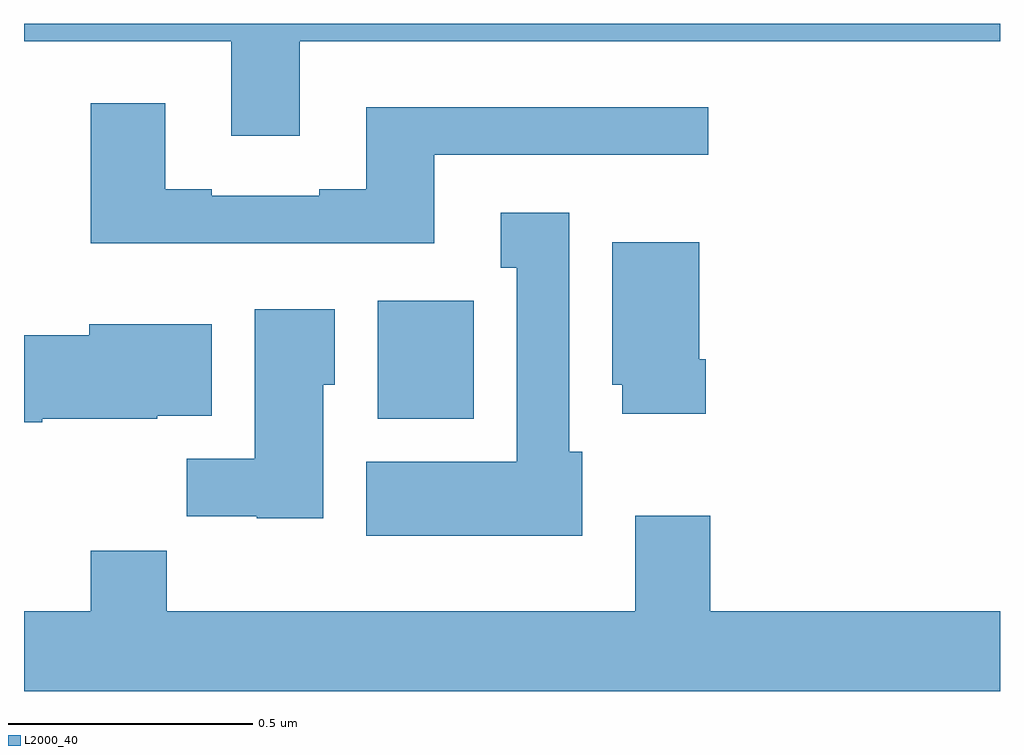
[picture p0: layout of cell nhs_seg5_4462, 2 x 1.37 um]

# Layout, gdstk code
import gdstk
lib = gdstk.Library(unit=1e-6, precision=1e-09)
def R(c, l, rs):  # rectangles x0, y0, x1, y1
    for r in rs: c.add(gdstk.rectangle(r[:2], r[2:], *l))
def P(c, l, *ps):  # polygons
    for p in ps: c.add(gdstk.Polygon(p, *l))
L2000_40 = (2000, 40)

nhs_seg5_4462 = lib.new_cell('nhs_seg5_4462')
R(nhs_seg5_4462, L2000_40, [(171.725,851.99,171.922,852.232)])
P(nhs_seg5_4462, L2000_40, [(171.565,852.764),(173,852.764),(173,852.799),(171,852.799),(171,852.764),(171.425,852.764),(171.425,852.57),(171.565,852.57)],
  [(171.841,852.531),(172.402,852.531),(172.402,852.628),(171.701,852.628),(171.701,852.46),(171.605,852.46),(171.605,852.447),(171.385,852.447),(171.385,852.46),(171.289,852.46),(171.289,852.637),(171.137,852.637),(171.137,852.35),(171.841,852.35)],
  [(172.144,851.922),(172.117,851.922),(172.117,852.412),(171.977,852.412),(171.977,852.299),(172.01,852.299),(172.01,851.902),(171.701,851.902),(171.701,851.75),(172.144,851.75)],
  [(172.397,852.112),(172.384,852.112),(172.384,852.352),(172.205,852.352),(172.205,852.06),(172.226,852.06),(172.226,852),(172.397,852)],
  [(171.613,852.06),(171.637,852.06),(171.637,852.214),(171.473,852.214),(171.473,851.908),(171.334,851.908),(171.334,851.79),(171.477,851.79),(171.477,851.786),(171.613,851.786)],
  [(171.037,851.99),(171.273,851.99),(171.273,851.996),(171.385,851.996),(171.385,852.184),(171.134,852.184),(171.134,852.161),(171,852.161),(171,851.983),(171.037,851.983)],
  [(173,851.596),(172.406,851.596),(172.406,851.791),(172.253,851.791),(172.253,851.596),(171.293,851.596),(171.293,851.72),(171.137,851.72),(171.137,851.596),(171,851.596),(171,851.432),(173,851.432)])

lib.write_gds('nhs_seg5_4462.gds')
